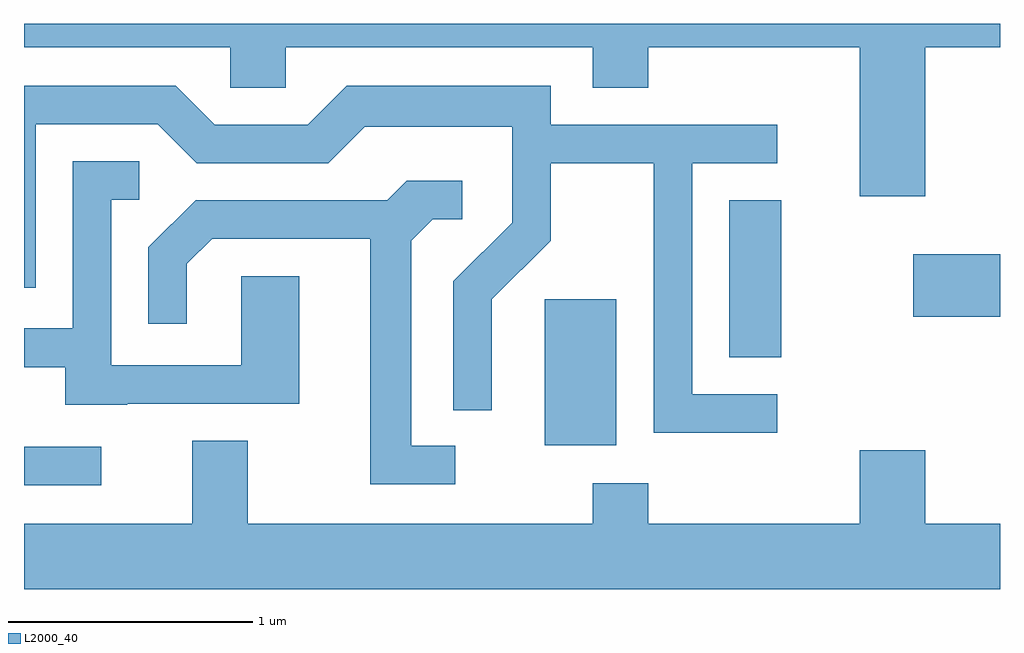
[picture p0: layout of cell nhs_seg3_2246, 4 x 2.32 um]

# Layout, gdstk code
import gdstk
lib = gdstk.Library(unit=1e-6, precision=1e-09)
def R(c, l, rs):  # rectangles x0, y0, x1, y1
    for r in rs: c.add(gdstk.rectangle(r[:2], r[2:], *l))
def P(c, l, *ps):  # polygons
    for p in ps: c.add(gdstk.Polygon(p, *l))
L2000_40 = (2000, 40)

nhs_seg3_2246 = lib.new_cell('nhs_seg3_2246')
R(nhs_seg3_2246, L2000_40, [(251.611,1122.001,251.928,1122.159), (253.746,1122.166,254.039,1122.764), (254.501,1122.526,254.714,1123.169), (255.256,1122.691,255.611,1122.949)])
P(nhs_seg3_2246, L2000_40, [(255.304,1123.796),(255.611,1123.796),(255.611,1123.892),(251.611,1123.892),(251.611,1123.796),(252.456,1123.796),(252.456,1123.631),(252.684,1123.631),(252.684,1123.796),(253.941,1123.796),(253.941,1123.631),(254.169,1123.631),(254.169,1123.796),(255.036,1123.796),(255.036,1123.186),(255.304,1123.186)],
  [(254.698,1122.374),(254.349,1122.374),(254.349,1123.321),(254.698,1123.321),(254.698,1123.479),(253.769,1123.479),(253.769,1123.639),(252.934,1123.639),(252.774,1123.479),(252.392,1123.479),(252.232,1123.639),(251.611,1123.639),(251.611,1122.811),(251.659,1122.811),(251.659,1123.481),(252.159,1123.481),(252.319,1123.321),(252.857,1123.321),(253.007,1123.471),(253.611,1123.471),(253.611,1123.077),(253.371,1122.837),(253.371,1122.308),(253.529,1122.308),(253.529,1122.764),(253.769,1123.004),(253.769,1123.321),(254.191,1123.321),(254.191,1122.216),(254.698,1122.216)],
  [(252.035,1122.336),(252.739,1122.336),(252.739,1122.859),(252.501,1122.859),(252.501,1122.494),(251.969,1122.494),(251.969,1123.171),(252.083,1123.171),(252.083,1123.329),(251.811,1123.329),(251.811,1122.644),(251.611,1122.644),(251.611,1122.486),(251.781,1122.486),(251.781,1122.331),(252.035,1122.331)],
  [(253.378,1122.164),(253.199,1122.164),(253.199,1123.004),(253.287,1123.091),(253.408,1123.091),(253.408,1123.249),(253.179,1123.249),(253.099,1123.169),(252.314,1123.169),(252.121,1122.977),(252.121,1122.663),(252.279,1122.663),(252.279,1122.909),(252.382,1123.011),(253.031,1123.011),(253.031,1122.006),(253.378,1122.006)],
  [(252.301,1122.184),(252.301,1121.844),(251.611,1121.844),(251.611,1121.576),(255.611,1121.576),(255.611,1121.844),(255.304,1121.844),(255.304,1122.144),(255.036,1122.144),(255.036,1121.844),(254.169,1121.844),(254.169,1122.009),(253.941,1122.009),(253.941,1121.844),(252.529,1121.844),(252.529,1122.184)])

lib.write_gds('nhs_seg3_2246.gds')
